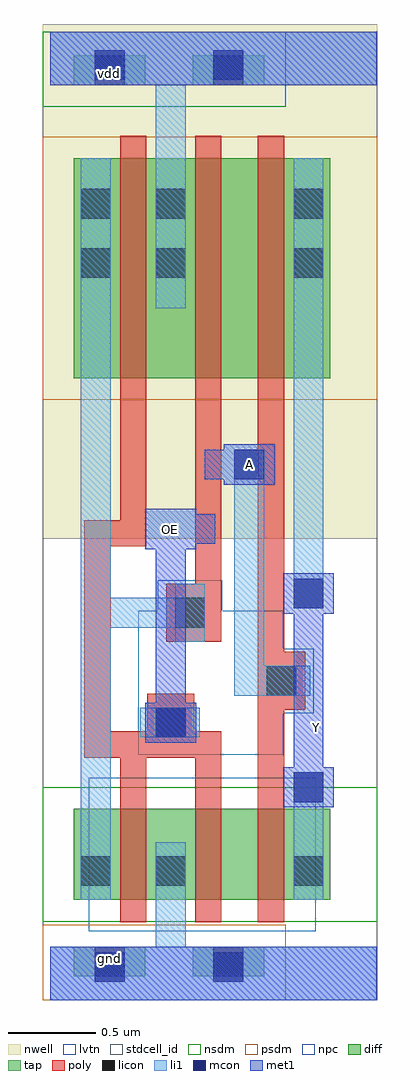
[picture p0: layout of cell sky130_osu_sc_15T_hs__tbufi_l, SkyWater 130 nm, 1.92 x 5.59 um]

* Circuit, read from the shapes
.subckt sky130_osu_sc_15T_hs__tbufi_l A OE Y gnd vdd
XM1 gnd OE n1 gnd sky130_fd_pr__nfet_01v8_lvt w=0.52 l=0.15
XM2 n2 OE gnd gnd sky130_fd_pr__nfet_01v8_lvt w=0.52 l=0.15
XM3 Y A n2 gnd sky130_fd_pr__nfet_01v8_lvt w=0.52 l=0.15
XM4 vdd OE n1 vdd sky130_fd_pr__pfet_01v8 w=1.26 l=0.15
XM5 n3 n1 vdd vdd sky130_fd_pr__pfet_01v8 w=1.26 l=0.15
XM6 Y A n3 vdd sky130_fd_pr__pfet_01v8 w=1.26 l=0.15
.ends

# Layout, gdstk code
import gdstk
lib = gdstk.Library(unit=1e-6, precision=1e-09)
def R(c, l, rs):  # rectangles x0, y0, x1, y1
    for r in rs: c.add(gdstk.rectangle(r[:2], r[2:], *l))
nwell = (64, 20)
diff = (65, 20)
tap = (65, 44)
poly = (66, 20)
licon = (66, 44)
li1 = (67, 20)
mcon = (67, 44)
met1 = (68, 20)
stdcell_id = (81, 4)
nsdm = (93, 44)
psdm = (94, 20)
npc = (95, 20)
lvtn = (125, 44)

sky130_osu_sc_15t_hs__tb = lib.new_cell('sky130_osu_sc_15T_hs__tbufi_l')
R(sky130_osu_sc_15t_hs__tb, nwell, [(-0.045,2.645,1.875,5.595)])
R(sky130_osu_sc_15t_hs__tb, diff, [(0.135,0.575,1.605,1.095), (0.135,3.565,1.605,4.825)])
R(sky130_osu_sc_15t_hs__tb, tap, [(0.135,0.135,0.545,0.305), (0.815,0.135,1.225,0.305), (0.135,5.245,0.545,5.415), (0.815,5.245,1.225,5.415)])
R(sky130_osu_sc_15t_hs__tb, poly, [(0.4,0.445,0.55,1.39), (0.83,0.445,0.98,1.39), (1.19,0.445,1.34,1.665), (0.195,1.39,0.98,1.54), (0.195,1.54,0.345,2.6), (0.555,1.54,0.825,1.755), (1.19,1.665,1.46,1.995), (1.19,1.995,1.34,4.955), (0.665,2.055,0.98,2.385), (0.83,2.385,0.98,4.955), (0.195,2.6,0.55,2.75), (0.4,2.75,0.55,4.955)])
R(sky130_osu_sc_15t_hs__tb, licon, [(0.255,0.135,0.425,0.305), (0.935,0.135,1.105,0.305), (0.175,0.655,0.345,0.825), (0.605,0.655,0.775,0.825), (1.395,0.655,1.565,0.825), (0.605,1.505,0.775,1.675), (1.24,1.745,1.41,1.915), (0.715,2.135,0.885,2.305), (0.175,4.14,0.345,4.31), (0.605,4.14,0.775,4.31), (1.395,4.14,1.565,4.31), (0.175,4.48,0.345,4.65), (0.605,4.48,0.775,4.65), (1.395,4.48,1.565,4.65), (0.255,5.245,0.425,5.415), (0.935,5.245,1.105,5.415)])
R(sky130_osu_sc_15t_hs__tb, li1, [(0,0,1.87,0.305), (0.605,0.305,0.775,0.905), (0.175,0.575,0.345,2.135), (1.395,0.575,1.565,1.305), (0.515,1.505,0.855,1.675), (1.055,1.745,1.49,1.915), (1.055,1.915,1.225,3.155), (0.715,2.055,0.885,2.135), (0.175,2.135,0.885,2.305), (1.395,2.245,1.565,4.825), (0.175,2.305,0.345,4.825), (0.715,2.305,0.885,2.385), (0.605,3.965,0.775,5.245), (0,5.245,1.87,5.55)])
R(sky130_osu_sc_15t_hs__tb, mcon, [(0.255,0.105,0.425,0.275), (0.935,0.105,1.105,0.275), (1.395,1.135,1.565,1.305), (0.605,1.505,0.775,1.675), (1.395,2.245,1.565,2.415), (1.055,2.985,1.225,3.155), (0.255,5.275,0.425,5.445), (0.935,5.275,1.105,5.445)])
R(sky130_osu_sc_15t_hs__tb, met1, [(0,0,1.87,0.305), (1.335,1.105,1.625,1.335), (1.395,1.335,1.565,2.215), (0.545,1.475,0.835,1.705), (0.605,1.705,0.775,2.585), (1.335,2.215,1.625,2.445), (0.545,2.585,0.835,2.615), (0.545,2.615,0.945,2.785), (0.545,2.785,0.835,2.815), (0.995,2.955,1.285,2.985), (0.885,2.985,1.285,3.155), (0.995,3.155,1.285,3.185), (0,5.245,1.87,5.55)])
R(sky130_osu_sc_15t_hs__tb, stdcell_id, [(-0.045,0,1.875,5.55)])
R(sky130_osu_sc_15t_hs__tb, nsdm, [(-0.045,0.45,1.875,1.22), (-0.045,5.12,1.35,5.55)])
R(sky130_osu_sc_15t_hs__tb, psdm, [(-0.045,0,1.35,0.43), (-0.045,3.44,1.875,4.95)])
R(sky130_osu_sc_15t_hs__tb, npc, [(0.505,1.405,1.335,1.645), (0.505,1.645,1.51,2.015), (0.505,2.015,1.335,2.23), (0.615,2.23,0.985,2.405)])
R(sky130_osu_sc_15t_hs__tb, lvtn, [(0.22,0.395,1.52,1.275)])
sky130_osu_sc_15t_hs__tb.add(gdstk.Label('gnd', (0.34,0.24), layer=68, texttype=16))
sky130_osu_sc_15t_hs__tb.add(gdstk.Label('vdd', (0.34,5.31), layer=68, texttype=16))
sky130_osu_sc_15t_hs__tb.add(gdstk.Label('Y', (1.525,1.56), layer=68, texttype=5))
sky130_osu_sc_15t_hs__tb.add(gdstk.Label('A', (1.14,3.07), layer=68, texttype=5))
sky130_osu_sc_15t_hs__tb.add(gdstk.Label('OE', (0.69,2.7), layer=68, texttype=5))

lib.write_gds('sky130_osu_sc_15T_hs__tbufi_l.gds')
